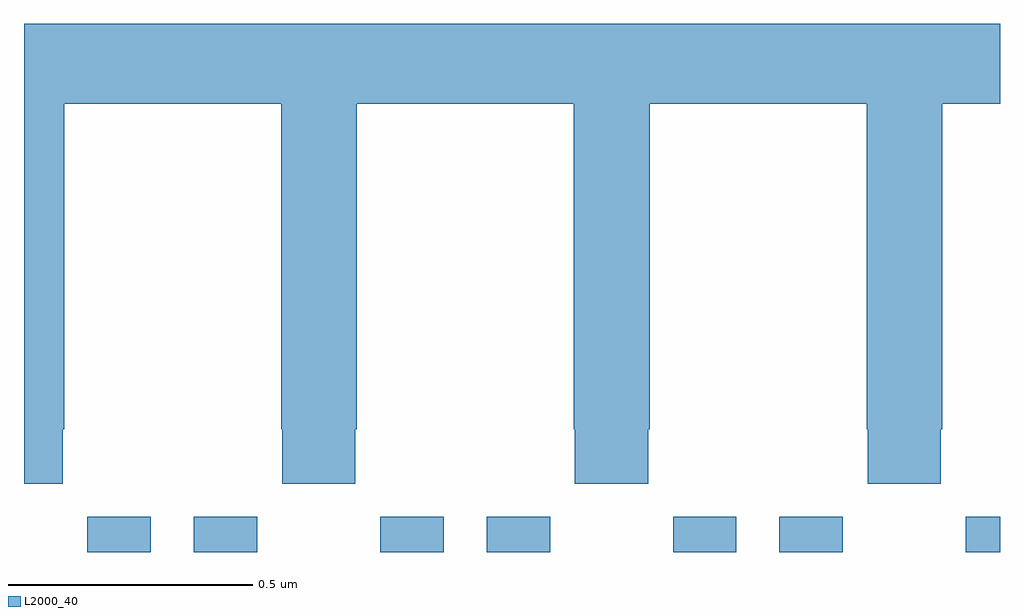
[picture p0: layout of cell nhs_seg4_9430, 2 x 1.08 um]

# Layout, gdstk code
import gdstk
lib = gdstk.Library(unit=1e-6, precision=1e-09)
def R(c, l, rs):  # rectangles x0, y0, x1, y1
    for r in rs: c.add(gdstk.rectangle(r[:2], r[2:], *l))
def P(c, l, *ps):  # polygons
    for p in ps: c.add(gdstk.Polygon(p, *l))
L2000_40 = (2000, 40)

nhs_seg4_9430 = lib.new_cell('nhs_seg4_9430')
R(nhs_seg4_9430, L2000_40, [(227.13,795.9,227.26,795.973), (227.348,795.9,227.478,795.973), (227.73,795.9,227.86,795.973), (227.948,795.9,228.078,795.973), (228.33,795.9,228.46,795.973), (228.548,795.9,228.678,795.973), (228.93,795.9,229,795.973)])
P(nhs_seg4_9430, L2000_40, [(227.079,796.153),(227.082,796.153),(227.082,796.82),(227.527,796.82),(227.527,796.153),(227.529,796.153),(227.529,796.041),(227.679,796.041),(227.679,796.153),(227.682,796.153),(227.682,796.82),(228.127,796.82),(228.127,796.153),(228.129,796.153),(228.129,796.041),(228.279,796.041),(228.279,796.153),(228.282,796.153),(228.282,796.82),(228.727,796.82),(228.727,796.153),(228.729,796.153),(228.729,796.041),(228.879,796.041),(228.879,796.153),(228.882,796.153),(228.882,796.82),(229,796.82),(229,796.984),(227,796.984),(227,796.041),(227.079,796.041)])

lib.write_gds('nhs_seg4_9430.gds')
